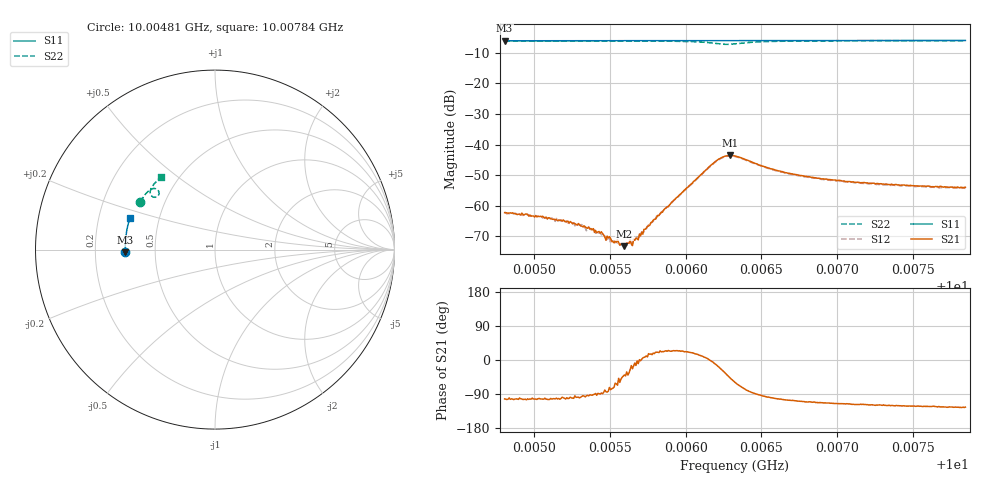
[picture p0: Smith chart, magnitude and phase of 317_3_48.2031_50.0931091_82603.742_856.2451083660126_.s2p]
#  HZ  S  RI  R  50.00
! Rohde & Schwarz Vector Network Analyzer
! Rohde-Schwarz,ZNB20-2Port,1311601062101988,3.16
! Created: UTC 3/20/2024, 11:50:14 AM
! freq[Hz]  re:S11  im:S11  re:S21  im:S21  re:S12  im:S12  re:S22  im:S22
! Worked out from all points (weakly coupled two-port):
!   401 points, 10.00481 GHz to 10.00784 GHz, reference 50 ohm
!   highest |S21| = -43.52 dB at 10.0063 GHz (marker M1); lowest = -73.2 dB at 10.0056 GHz (marker M2)
!   lowest |S11| = -6.0 dB at 10.00481 GHz (marker M3), VSWR 2.99, Z = 16.7 - j0.659 ohm
!   |S11| at or under -10 dB: nowhere
!   |S22| runs from -7.2 to -6.0 dB; largest |S21 - S12| = 0.00039
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1.0004807e10  -0.499 -0.0148  -0.000169 -0.000755  -0.000142 -0.000771  -0.4158 0.2665
1.0005042e10  -0.4997 0.000529  -0.000151 -0.000659  -0.000104 -0.000645  -0.4074 0.2804
1.0005232e10  -0.4999 0.013  -0.000101 -0.000515  -5.75e-05 -0.000514  -0.4002 0.2916
1.0005316e10  -0.5 0.0184  -4.83e-05 -0.000463  -4.7e-05 -0.000492  -0.3964 0.2968
1.0005338e10  -0.5 0.0199  -5.77e-05 -0.000449  -3.37e-05 -0.000435  -0.3956 0.2981
1.0005437e10  -0.4998 0.0263  5.89e-07 -0.000357  5.37e-05 -0.000351  -0.3912 0.3041
1.0005521e10  -0.4997 0.0317  7.01e-05 -0.000251  9.4e-05 -0.00025  -0.3873 0.3092
1.0005581e10  -0.4996 0.0355  0.000165 -0.000171  0.000152 -0.000167  -0.3843 0.313
1.0005597e10  -0.4996 0.0365  0.000169 -0.000139  0.000181 -0.000132  -0.3833 0.3138
1.0005619e10  -0.4994 0.0382  0.000188 -0.000155  0.000192 -0.000111  -0.3821 0.3155
1.0005635e10  -0.4993 0.0389  0.000251 -0.000118  0.000242 -8.54e-05  -0.3813 0.3163
1.0005657e10  -0.4993 0.0405  0.000271 -7.55e-05  0.000275 -8.07e-05  -0.38 0.3177
1.0005824e10  -0.4987 0.0513  0.000655 0.000234  0.00064 0.000276  -0.3689 0.3284
1.0006189e10  -0.4959 0.0748  0.00507 -0.000788  0.005 -0.000497  -0.3147 0.3266
1.0006242e10  -0.4955 0.0779  0.00555 -0.00283  0.00557 -0.0025  -0.3126 0.3085
1.0006295e10  -0.495 0.0812  0.00445 -0.00497  0.00461 -0.00465  -0.3256 0.2933
1.0006326e10  -0.4948 0.083  0.00336 -0.00561  0.00358 -0.00531  -0.3361 0.2912
1.0006599e10  -0.4927 0.1005  -0.000778 -0.00373  -0.00062 -0.00369  -0.3596 0.3314
1.0006835e10  -0.49 0.1156  -0.00108 -0.00272  -0.000918 -0.00271  -0.3492 0.3523
1.0007108e10  -0.486 0.1326  -0.00111 -0.00219  -0.001 -0.00217  -0.3356 0.3696
1.0007344e10  -0.4824 0.1476  -0.0011 -0.00193  -0.001 -0.00193  -0.324 0.3819
1.0007845e10  -0.4727 0.1783  -0.00114 -0.00166  -0.00102 -0.00163  -0.2985 0.4053
